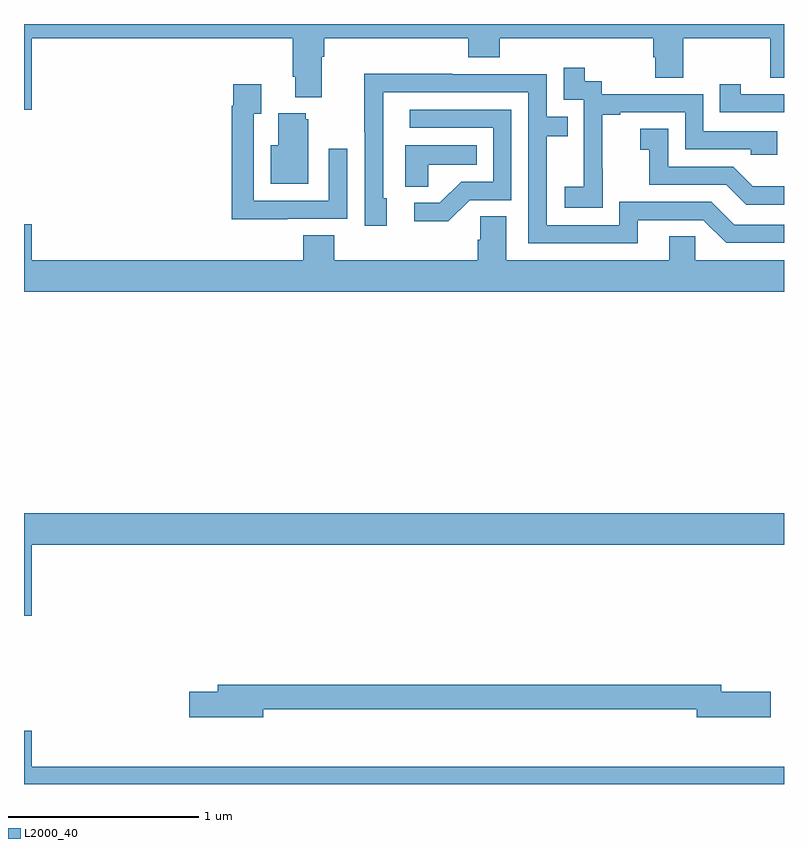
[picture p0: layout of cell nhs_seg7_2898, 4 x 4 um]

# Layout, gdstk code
import gdstk
lib = gdstk.Library(unit=1e-6, precision=1e-09)
def P(c, l, *ps):  # polygons
    for p in ps: c.add(gdstk.Polygon(p, *l))
L2000_40 = (2000, 40)

nhs_seg7_2898 = lib.new_cell('nhs_seg7_2898')
P(nhs_seg7_2898, L2000_40, [(297,1025.55),(297.04,1025.55),(297.04,1025.924),(298.415,1025.924),(298.415,1025.722),(298.427,1025.722),(298.427,1025.615),(298.567,1025.615),(298.567,1025.828),(298.58,1025.828),(298.58,1025.924),(299.339,1025.924),(299.339,1025.825),(299.504,1025.825),(299.504,1025.924),(300.311,1025.924),(300.311,1025.826),(300.323,1025.826),(300.323,1025.716),(300.471,1025.716),(300.471,1025.924),(300.928,1025.924),(300.928,1025.716),(301,1025.716),(301,1026),(297,1026)],
  [(300.045,1025.239),(300.044,1025.239),(300.044,1025.523),(300.139,1025.523),(300.139,1025.535),(300.48,1025.535),(300.48,1025.34),(300.825,1025.34),(300.825,1025.313),(300.965,1025.313),(300.965,1025.436),(300.576,1025.436),(300.576,1025.631),(300.042,1025.631),(300.042,1025.7),(299.95,1025.7),(299.95,1025.77),(299.841,1025.77),(299.841,1025.601),(299.946,1025.601),(299.946,1025.372),(299.945,1025.372),(299.945,1025.143),(299.847,1025.143),(299.847,1025.033),(300.045,1025.033)],
  [(300.229,1024.968),(300.576,1024.968),(300.696,1024.848),(301,1024.848),(301,1024.944),(300.738,1024.944),(300.618,1025.064),(300.132,1025.064),(300.132,1024.941),(299.751,1024.941),(299.751,1025.41),(299.861,1025.41),(299.861,1025.511),(299.751,1025.511),(299.751,1025.736),(299.255,1025.736),(299.255,1025.738),(298.792,1025.738),(298.792,1025.431),(298.794,1025.431),(298.794,1024.938),(298.909,1024.938),(298.909,1025.082),(298.89,1025.082),(298.89,1025.64),(299.655,1025.64),(299.655,1024.845),(300.229,1024.845)],
  [(298.385,1024.974),(298.701,1024.974),(298.701,1025.344),(298.605,1025.344),(298.605,1025.07),(298.209,1025.07),(298.209,1025.527),(298.249,1025.527),(298.249,1025.683),(298.101,1025.683),(298.101,1025.57),(298.093,1025.57),(298.093,1024.973),(298.385,1024.973)],
  [(301,1025.631),(300.772,1025.631),(300.772,1025.683),(300.661,1025.683),(300.661,1025.535),(301,1025.535)],
  [(299.346,1025.073),(299.565,1025.073),(299.565,1025.55),(299.031,1025.55),(299.031,1025.454),(299.469,1025.454),(299.469,1025.169),(299.3,1025.169),(299.189,1025.058),(299.055,1025.058),(299.055,1024.961),(299.233,1024.961)],
  [(298.495,1025.499),(298.484,1025.499),(298.484,1025.53),(298.337,1025.53),(298.337,1025.362),(298.298,1025.362),(298.298,1025.159),(298.495,1025.159)],
  [(301,1025.146),(300.836,1025.146),(300.732,1025.25),(300.39,1025.25),(300.39,1025.449),(300.243,1025.449),(300.243,1025.339),(300.292,1025.339),(300.292,1025.154),(300.695,1025.154),(300.8,1025.049),(301,1025.049)],
  [(299.127,1025.258),(299.384,1025.258),(299.384,1025.362),(299.006,1025.362),(299.006,1025.143),(299.127,1025.143)],
  [(301,1024.756),(300.534,1024.756),(300.534,1024.883),(300.395,1024.883),(300.395,1024.756),(299.539,1024.756),(299.539,1024.988),(299.4,1024.988),(299.4,1024.865),(299.387,1024.865),(299.387,1024.756),(298.634,1024.756),(298.634,1024.889),(298.469,1024.889),(298.469,1024.756),(297.04,1024.756),(297.04,1024.945),(297,1024.945),(297,1024.592),(301,1024.592)],
  [(297.04,1023.26),(301,1023.26),(301,1023.424),(297,1023.424),(297,1022.886),(297.04,1022.886)],
  [(298.258,1022.394),(300.542,1022.394),(300.542,1022.351),(300.931,1022.351),(300.931,1022.486),(300.67,1022.486),(300.67,1022.522),(298.019,1022.522),(298.019,1022.486),(297.87,1022.486),(297.87,1022.351),(298.258,1022.351)],
  [(301,1022.092),(297.04,1022.092),(297.04,1022.281),(297,1022.281),(297,1022),(301,1022)])

lib.write_gds('nhs_seg7_2898.gds')
